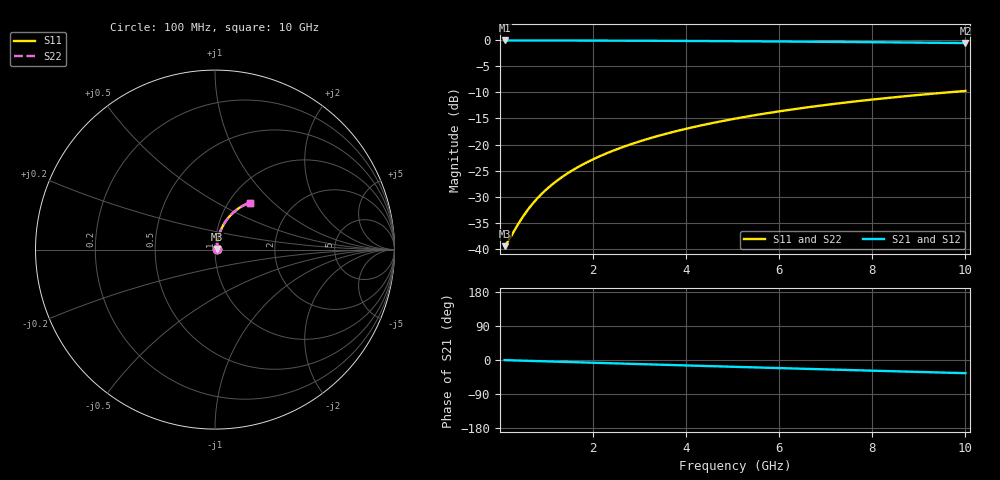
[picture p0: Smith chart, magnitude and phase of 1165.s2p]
# Hz S RI R 50.00
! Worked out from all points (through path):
!   100 points, 100 MHz to 10 GHz, reference 50 ohm
!   highest |S21| = -0.09 dB at 100 MHz (marker M1); lowest = -0.6 dB at 10 GHz (marker M2)
!   group delay of S21, straight-line fit = 9.68 ps
!   lowest |S11| = -39.4 dB at 100 MHz (marker M3), VSWR 1.02, Z = 51 + j0.36 ohm
!   |S11| at or under -10 dB: start of sweep to 9.645 GHz
!   |S22| runs from -39.4 to -9.7 dB; largest |S21 - S12| = 0
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1e8  0.0101 0.00353  0.9899 -0.00622  0.9899 -0.00622  0.0101 0.00353
2e8  0.0102 0.00706  0.9897 -0.0124  0.9897 -0.0124  0.0102 0.00706
4e8  0.0106 0.0141  0.9893 -0.0249  0.9893 -0.0249  0.0106 0.0141
5e8  0.0108 0.0176  0.9891 -0.0311  0.9891 -0.0311  0.0108 0.0176
6e8  0.0111 0.0212  0.9888 -0.0373  0.9888 -0.0373  0.0111 0.0212
7e8  0.0114 0.0247  0.9884 -0.0435  0.9884 -0.0435  0.0114 0.0247
8e8  0.0118 0.0282  0.988 -0.0497  0.988 -0.0497  0.0118 0.0282
1e9  0.0126 0.0352  0.987 -0.0621  0.987 -0.0621  0.0126 0.0352
1.2e9  0.0136 0.0422  0.9858 -0.0745  0.9858 -0.0745  0.0136 0.0422
1.5e9  0.0154 0.0526  0.9837 -0.093  0.9837 -0.093  0.0154 0.0526
1.8e9  0.0177 0.0629  0.9811 -0.1114  0.9811 -0.1114  0.0177 0.0629
2.1e9  0.0203 0.0731  0.9781 -0.1297  0.9781 -0.1297  0.0203 0.0731
2.5e9  0.0243 0.0865  0.9733 -0.1539  0.9733 -0.1539  0.0243 0.0865
2.9e9  0.029 0.0997  0.9678 -0.1779  0.9678 -0.1779  0.029 0.0997
3.4e9  0.0358 0.1157  0.9599 -0.2074  0.9599 -0.2074  0.0358 0.1157
4.2e9  0.0486 0.1403  0.9449 -0.2537  0.9449 -0.2537  0.0486 0.1403
5.1e9  0.0656 0.1662  0.9247 -0.3039  0.9247 -0.3039  0.0656 0.1662
5.9e9  0.0829 0.1872  0.9041 -0.3466  0.9041 -0.3466  0.0829 0.1872
6.7e9  0.102 0.2063  0.8812 -0.3875  0.8812 -0.3875  0.102 0.2063
7.5e9  0.1225 0.2233  0.8564 -0.4262  0.8564 -0.4262  0.1225 0.2233
8.4e9  0.1472 0.2397  0.8263 -0.4673  0.8263 -0.4673  0.1472 0.2397
1e10  0.1937 0.2619  0.7683 -0.5333  0.7683 -0.5333  0.1937 0.2619
